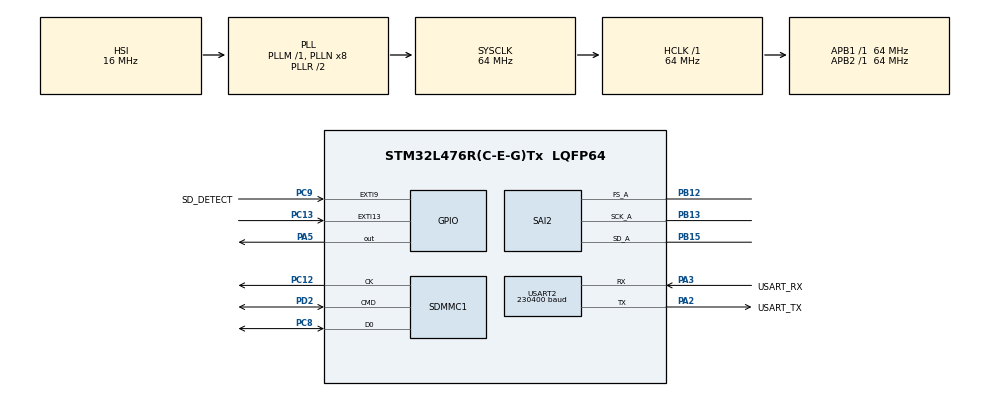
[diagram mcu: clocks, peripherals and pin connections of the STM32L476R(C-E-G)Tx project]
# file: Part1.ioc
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Dma.Request0=SAI2_A
Dma.Request1=SDMMC1
Dma.Request2=USART2_TX
Dma.SAI2_A.0.Direction=DMA_PERIPH_TO_MEMORY
Dma.SAI2_A.0.Instance=DMA1_Channel6
Dma.SAI2_A.0.MemDataAlignment=DMA_MDATAALIGN_WORD
Dma.SAI2_A.0.MemInc=DMA_MINC_ENABLE
Dma.SAI2_A.0.Mode=DMA_CIRCULAR
Dma.SAI2_A.0.PeriphDataAlignment=DMA_PDATAALIGN_WORD
Dma.SAI2_A.0.PeriphInc=DMA_PINC_DISABLE
Dma.SAI2_A.0.Priority=DMA_PRIORITY_MEDIUM
Dma.SDMMC1.1.Direction=DMA_PERIPH_TO_MEMORY
Dma.SDMMC1.1.Instance=DMA2_Channel5
Dma.SDMMC1.1.MemDataAlignment=DMA_MDATAALIGN_WORD
Dma.SDMMC1.1.MemInc=DMA_MINC_ENABLE
Dma.SDMMC1.1.Mode=DMA_NORMAL
Dma.SDMMC1.1.PeriphDataAlignment=DMA_PDATAALIGN_WORD
Dma.SDMMC1.1.PeriphInc=DMA_PINC_DISABLE
Dma.SDMMC1.1.Priority=DMA_PRIORITY_VERY_HIGH
Dma.USART2_TX.2.Direction=DMA_MEMORY_TO_PERIPH
Dma.USART2_TX.2.Instance=DMA1_Channel7
Dma.USART2_TX.2.MemDataAlignment=DMA_MDATAALIGN_BYTE
Dma.USART2_TX.2.MemInc=DMA_MINC_ENABLE
Dma.USART2_TX.2.Mode=DMA_NORMAL
Dma.USART2_TX.2.PeriphDataAlignment=DMA_PDATAALIGN_BYTE
Dma.USART2_TX.2.PeriphInc=DMA_PINC_DISABLE
Dma.USART2_TX.2.Priority=DMA_PRIORITY_VERY_HIGH
FATFS._FS_EXFAT=1
FATFS._FS_TIMEOUT=500
FATFS._FS_TINY=0
FATFS._MAX_LFN=64
FATFS._MAX_SS=512
FATFS._USE_LFN=3
FATFS._USE_MUTEX=1
FREERTOS.HEAP_NUMBER=4
FREERTOS.Tasks01=defaultTask,24,128,StartDefaultTask,As weak,NULL,Dynamic,NULL,NULL
FREERTOS.configCHECK_FOR_STACK_OVERFLOW=2
FREERTOS.configENABLE_FPU=1
FREERTOS.configRECORD_STACK_HIGH_ADDRESS=1
FREERTOS.configTOTAL_HEAP_SIZE=48000
FREERTOS.configUSE_DAEMON_TASK_STARTUP_HOOK=0
FREERTOS.configUSE_MALLOC_FAILED_HOOK=1
Mcu.Family=STM32L4
Mcu.Name=STM32L476R(C-E-G)Tx
Mcu.Package=LQFP64
NVIC.DMA1_Channel6_IRQn=true\:5\:0\:false\:false\:true\:true\:false\:true\:true
NVIC.DMA1_Channel7_IRQn=true\:5\:0\:false\:false\:true\:true\:false\:true\:true
NVIC.DMA2_Channel5_IRQn=true\:5\:0\:true\:false\:true\:false\:false\:true\:true
NVIC.EXTI15_10_IRQn=true\:5\:0\:false\:false\:true\:true\:true\:true\:true
NVIC.EXTI9_5_IRQn=true\:5\:0\:false\:false\:true\:true\:true\:true\:true
NVIC.PriorityGroup=NVIC_PRIORITYGROUP_4
NVIC.SDMMC1_IRQn=true\:5\:0\:false\:false\:true\:true\:true\:true\:true
NVIC.TIM2_IRQn=true\:5\:0\:false\:false\:true\:true\:true\:true\:true
NVIC.TIM6_DAC_IRQn=true\:15\:0\:false\:false\:true\:false\:false\:true\:true
NVIC.TimeBase=TIM6_DAC_IRQn
NVIC.TimeBaseIP=TIM6
NVIC.USART2_IRQn=true\:5\:0\:false\:false\:true\:true\:true\:true\:true
PA13\ (JTMS-SWDIO).GPIO_Label=TMS
PA13\ (JTMS-SWDIO).Mode=Trace_Asynchronous_SW
PA13\ (JTMS-SWDIO).Signal=SYS_JTMS-SWDIO
PA14\ (JTCK-SWCLK).GPIO_Label=TCK
PA14\ (JTCK-SWCLK).Mode=Trace_Asynchronous_SW
PA14\ (JTCK-SWCLK).Signal=SYS_JTCK-SWCLK
PA2.GPIO_Label=USART_TX
PA2.GPIO_Mode=GPIO_MODE_AF_PP
PA2.GPIO_PuPd=GPIO_NOPULL
PA2.GPIO_Speed=GPIO_SPEED_FREQ_VERY_HIGH
PA2.Mode=Asynchronous
PA2.Signal=USART2_TX
PA3.GPIO_Label=USART_RX
PA3.GPIO_Mode=GPIO_MODE_AF_PP
PA3.GPIO_PuPd=GPIO_NOPULL
PA3.GPIO_Speed=GPIO_SPEED_FREQ_VERY_HIGH
PA3.Mode=Asynchronous
PA3.Signal=USART2_RX
PA5.Signal=GPIO_Output
PB12.Mode=SAI_A_Master
PB12.Signal=SAI2_FS_A
PB13.Mode=SAI_A_Master
PB13.Signal=SAI2_SCK_A
PB15.GPIO_PuPd=GPIO_PULLDOWN
PB15.Mode=SAI_A_Master
PB15.Signal=SAI2_SD_A
PB3\ (JTDO-TRACESWO).GPIO_Label=SWO
PB3\ (JTDO-TRACESWO).Mode=Trace_Asynchronous_SW
PB3\ (JTDO-TRACESWO).Signal=SYS_JTDO-SWO
PC12.Mode=SD_1_bit
PC12.Signal=SDMMC1_CK
PC13.GPIO_ModeDefaultEXTI=GPIO_MODE_IT_RISING_FALLING
PC13.Signal=GPXTI13
PC14-OSC32_IN\ (PC14).Signal=RCC_OSC32_IN
PC15-OSC32_OUT\ (PC15).Signal=RCC_OSC32_OUT
PC8.Mode=SD_1_bit
PC8.Signal=SDMMC1_D0
PC9.GPIO_Label=SD_DETECT
PC9.GPIO_ModeDefaultEXTI=GPIO_MODE_IT_RISING_FALLING
PC9.GPIO_PuPd=GPIO_PULLUP
PC9.Signal=GPXTI9
PD2.Mode=SD_1_bit
PD2.Signal=SDMMC1_CMD
PH0-OSC_IN\ (PH0).Signal=RCC_OSC_IN
PH1-OSC_OUT\ (PH1).Signal=RCC_OSC_OUT
ProjectManager.HeapSize=0x400
ProjectManager.StackSize=0x800
ProjectManager.TargetToolchain=CMake
RCC.ADCFreq_Value=64000000
RCC.AHBFreq_Value=64000000
RCC.APB1Freq_Value=64000000
RCC.APB1TimFreq_Value=64000000
RCC.APB2Freq_Value=64000000
RCC.APB2TimFreq_Value=64000000
RCC.CK48CLockSelection=RCC_USBCLKSOURCE_PLL
RCC.CortexFreq_Value=64000000
RCC.HCLKFreq_Value=64000000
RCC.HSE_VALUE=8000000
RCC.HSI_VALUE=16000000
RCC.LSE_VALUE=32768
RCC.MSI_VALUE=4000000
RCC.PLLQ=RCC_PLLQ_DIV4
RCC.PLLSAI1Q=RCC_PLLQ_DIV4
RCC.PLLSAI2N=12
RCC.PLLSAI2P=RCC_PLLP_DIV17
RCC.PLLSourceVirtual=RCC_PLLSOURCE_HSI
RCC.PREFETCH_ENABLE=1
RCC.SAI2CLockSelection=RCC_SAI2CLKSOURCE_PLLSAI2
RCC.SYSCLKFreq_VALUE=64000000
RCC.SYSCLKSource=RCC_SYSCLKSOURCE_PLLCLK
RCC.USBFreq_Value=32000000
RCC.VCOOutputFreq_Value=128000000
SAI2.AudioFrequency-SAI_A_Master=SAI_AUDIO_FREQUENCY_44K
SAI2.AudioMode-SAI_A_Master=SAI_MODEMASTER_RX
SAI2.BasicDataSize-SAI_A_Master=SAI_PROTOCOL_DATASIZE_24BIT
SAI2.ErrorAudioFreq-SAI_A_Master=0.03 %
SAI2.FIFOThreshold-SAI_A_Master=SAI_FIFOTHRESHOLD_EMPTY
SAI2.InitProtocol-SAI_A_Master=Enable
SAI2.Instance-SAI_A_Master=SAI$Index_Block_A
SAI2.MClockEnable-SAI_A_Master=SAI_MASTERCLOCK_DISABLE
SAI2.MonoStereoMode-SAI_A_Master=SAI_MONOMODE
SAI2.NoDivider-SAI_A_Master=SAI_MASTERDIVIDER_ENABLE
SAI2.RealAudioFreq-SAI_A_Master=44.117 KHz
SAI2.VirtualMode-SAI_A_Master=VM_MASTER
SAI2.VirtualProtocol-SAI_A_BASIC=VM_BASIC_PROTOCOL
SDMMC1.ClockDiv=0
SDMMC1.HardwareFlowControl=SDMMC_HARDWARE_FLOW_CONTROL_DISABLE
STMicroelectronics.X-CUBE-ALGOBUILD.1.5.0.LibraryCcDSPOoLibraryJjDSPOoLibrary=true
TIM2.Period=19999
TIM2.Prescaler=6400
USART2.BaudRate=230400
USART2.VirtualMode-Asynchronous=VM_ASYNC
VP_FATFS_VS_SDIO.Mode=SDIO
VP_FREERTOS_VS_CMSIS_V2.Mode=CMSIS_V2
VP_NUCLEO-L476RG_VS_BSP_COMMON.Mode=COMMON
VP_RTC_VS_RTC_Activate.Mode=RTC_Enabled
VP_RTC_VS_RTC_Calendar.Mode=RTC_Calendar
VP_SAI2_VP_$IpInstance_SAIA_SAI_BASIC.Mode=SAI_A_BASIC
VP_STMicroelectronics.X-CUBE-ALGOBUILD_VS_DSPOoLibraryJjLibrary_1.5.0_1.5.0.Mode=DSPOoLibraryJjLibrary
VP_SYS_VS_tim6.Mode=TIM6
VP_TIM2_VS_ClockSourceINT.Mode=Internal
VP_TIM2_VS_OPM.Mode=OPM_bit
board=NUCLEO-L476RG

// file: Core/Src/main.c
/* USER CODE BEGIN Header */
/**
  ******************************************************************************
  * @file           : main.c
  * @brief          : Main program body
  ******************************************************************************
  * @attention
  *
  * Copyright (c) 2026 STMicroelectronics.
  * All rights reserved.
  *
  * This software is licensed under terms that can be found in the LICENSE file
  * in the root directory of this software component.
  * If no LICENSE file comes with this software, it is provided AS-IS.
  *
  ******************************************************************************
  */
/* USER CODE END Header */
#include "main.h"
#include "cmsis_os.h"
#include "fatfs.h"

/* USER CODE BEGIN Includes */
#include "FreeRTOS.h"
#include "ff.h"
#include "portmacro.h"
#include "projdefs.h"
#include "stm32l476xx.h"
#include "stm32l4xx_hal_def.h"
#include "stm32l4xx_hal_dma.h"
#include "stm32l4xx_hal_uart.h"
#include "stm32l4xx_nucleo.h"
#include "task.h"
#include "arm_math.h"
#include "string.h"
#include "stdio.h"
#include "queue.h"
#include "stdarg.h"
#include "event_groups.h"
#include "semphr.h"
#include "stream_buffer.h"
#include "trcDefines.h"
#include <sys/_intsup.h>
/* USER CODE END Includes */

/* USER CODE BEGIN PD */
#define PROFILING
#define DMA_BUF_SIZE                       2048
#define AUDIO_BLOCK_LEN_WORDS             (DMA_BUF_SIZE/2)
#define AUDIO_BLOCK_SIZE_BYTES            (AUDIO_BLOCK_LEN_WORDS*4)
#define FFT_LENGTH                        (DMA_BUF_SIZE/2)
#define FFT_MAG_LEN                       (FFT_LENGTH/2)

#define SAMPLE_RATE                        44117.0f
#define FFT_BIN_HZ_FLOAT                   (SAMPLE_RATE / FFT_LENGTH)
#define HANN_COHERENT_GAIN                 0.5f
#define FFT_SCALE                         (2.0f / (FFT_LENGTH * HANN_COHERENT_GAIN))
#define SEARCH_RADIUS_BINS                 2
#define FALL_CRICKET_FREQ                  4200.0f
#define SOUTHEASTERN_CRICKET_FREQ          4700.0f
#define REF_LO_BIN                        ((uint32_t)(900.0f   / FFT_BIN_HZ_FLOAT))
#define REF_HI_BIN                        ((uint32_t)(16000.0f / FFT_BIN_HZ_FLOAT))
// #define AUDIO_QUEUE_LEN                    4
// #define AUDIO_QUEUE_SIZE                  (AUDIO_QUEUE_LEN*AUDIO_BLOCK_SIZE_BYTES)

#define RECORDING_STREAM_SIZE              8192
#define RECORDING_STREAM_TRIGGER_LVL       (4096)

#define SD_CONNECTION_EVENT_BIT             (1<<0)
#define SD_EJECT_BIT                        (1<<1)
#define SD_RECORDING_CTL_BIT                (1<<2)
#define SD_RECORDING_STATUS_BIT             (1<<3)
#define SD_RECORDING_ACTIVE                 (1<<4)
#define SD_INITIALIZED_BIT                  (1<<5)
#define SD_ERROR_REINITRQ_BIT               (1<<6)

/* USER CODE END PD */

RTC_HandleTypeDef hrtc;

SAI_HandleTypeDef hsai_BlockA2;
DMA_HandleTypeDef hdma_sai2_a;

SD_HandleTypeDef hsd1;
DMA_HandleTypeDef hdma_sdmmc1;

TIM_HandleTypeDef htim2;

UART_HandleTypeDef huart2;
DMA_HandleTypeDef hdma_usart2_tx;

/* Definitions for defaultTask */
osThreadId_t defaultTaskHandle;
const osThreadAttr_t defaultTask_attributes = {
  .name = "defaultTask",
  .stack_size = 128 * 4,
  .priority = (osPriority_t) osPriorityNormal,
};
/* USER CODE BEGIN PV */

#ifdef PROFILING
TraceStringHandle_t RecordingProfiler;
TraceStringHandle_t FFTProfiler;
#endif

extern char SDPath[4];   /* SD logical drive path */
extern FATFS SDFatFS;    /* File system object for SD logical drive */

uint8_t recordingFolderExists;
char UARTrxBuf[6];
uint8_t buttonLongPressed;
static WAV_HeaderTypeDef wavHeader={
  .riff_chunk_id="RIFF",
  .format="WAVE",
  .fmt_chunk_id= "fmt ",
  .fmt_chunk_size = 16,
  .audio_format = 1,      // PCM Linear
  .num_channels = 1,       // Mono microphone
  .sample_rate = SAMPLE_RATE,   // 16kHz
  .bits_per_sample = 24,   // 24-bit audio
  .block_align = 3,
  .byte_rate = SAMPLE_RATE*3,
  .data_chunk_id="data",
  .chunk_size = 0,
  .data_chunk_size = 0
};

//int32_t raw_audio_samples[AUDIO_BLOCK_LEN_WORDS] __attribute__((aligned(4)));
uint8_t raw_audio_samples2[RECORDING_STREAM_TRIGGER_LVL] __attribute__((aligned(4))) __attribute__((section(".ram2")));
uint8_t packed_24bit_buf[ AUDIO_BLOCK_LEN_WORDS * 3 ] __attribute__((aligned(4)))__attribute__((section(".ram2")));
int32_t DMA_buf[DMA_BUF_SIZE] __attribute__((aligned(4))) __attribute__((section(".ram2")));

arm_rfft_fast_instance_f32 xFFT_instance;

float32_t fft_input[FFT_LENGTH];
float32_t fft_output[FFT_LENGTH];
float32_t fft_magnitude[FFT_MAG_LEN];
float32_t hann_window[FFT_LENGTH]__attribute__((section(".ram2")));

TaskHandle_t AudioProcessingTaskHandle;
TaskHandle_t FFTProcessingTaskHandle;
TaskHandle_t SDCardCTLTaskHandle;
TaskHandle_t SDRecordingTaskHandle;

// StaticQueue_t xAudioQueue;
// QueueHandle_t xhAudioQueue;
// uint8_t AudioQueueStorageBuffer[AUDIO_QUEUE_SIZE] __attribute__((section(".ram2")));

SemaphoreHandle_t xFFTProcessingSemaphore;

StaticStreamBuffer_t xRecordingStream;
StreamBufferHandle_t xhRecordingStream;
uint8_t RecordingStreamStorageBuffer[RECORDING_STREAM_SIZE] __attribute__((section(".ram2")));

QueueHandle_t xhLoggingQueue;
SemaphoreHandle_t xLoggingSemaphore;

EventGroupHandle_t xhFilesystemEventGroup;
StaticEventGroup_t xFilesystemEventGroup;
#define SD_CHECKFLAGS(x)                   ((xEventGroupGetBits(xhFilesystemEventGroup) & (x))==(x))

#define HOLDING_MUTEX(x)                   (xSemaphoreGetMutexHolder(x) == xTaskGetCurrentTaskHandle())
SemaphoreHandle_t xSDBusyMutex;
SemaphoreHandle_t xRecordingMutex;
/* USER CODE END PV */

void SystemClock_Config(void);
static void MX_GPIO_Init(void);
static void MX_DMA_Init(void);
static void MX_SAI2_Init(void);
static void MX_USART2_UART_Init(void);
static void MX_SDMMC1_SD_Init(void);
static void MX_RTC_Init(void);
static void MX_TIM2_Init(void);
void StartDefaultTask(void *argument);

/* USER CODE BEGIN PFP */
void vAudioProcessingTask(void *argument);
void vFFTProcessingTask(void *argument);
void vSDCardCTLTask(void *argument);
void vSDRecordingTask(void *argument);
void vLoggingTask(void *argument);
/* USER CODE END PFP */

/* USER CODE BEGIN 0 */

static void Window_Init(void)
{
  for (uint32_t n = 0; n < FFT_LENGTH; n++)
  {
    // Periodic Hann, as used for spectral analysis
    hann_window[n] = 0.5f * (1.0f - arm_cos_f32(2.0f * PI * n / FFT_LENGTH));
  }
}

void vLogMessage(const char* fmt, ...) {
  char buff[256];
  snprintf(buff, sizeof(buff), "[%s Tick:%ld] ", pcTaskGetTaskName(NULL), xTaskGetTickCount());
  va_list args;
  va_start(args, fmt);
  size_t len = strlen(buff);
  vsnprintf(buff+len, (sizeof(buff)-len), fmt, args);
  xQueueSend(xhLoggingQueue, buff, 100);
  va_end(args);
}

void UART_Printf(const char* buff){
  HAL_UART_Transmit_DMA(&huart2, (uint8_t*)buff, strlen(buff));
}

void SD_Init() {
  recordingFolderExists = 0;
  if(xSemaphoreTake(xSDBusyMutex, 100) == pdPASS)
  {
    MX_FATFS_Init();
    vLogMessage("Initializing SD Card\r\n");
    retSD = f_mount(&SDFatFS, (TCHAR const*)SDPath, 0);
    if(retSD != FR_OK) {
        vLogMessage("f_mount() failed, retSD = %d\r\n", retSD);
        goto cleanup;
    }

    vLogMessage("f_mount() done!\r\n");

    uint32_t freeClust;
    FATFS* fs_ptr = &SDFatFS;
    retSD = f_getfree((TCHAR const*)SDPath, &freeClust, &fs_ptr); // Warning! This fills SDFatFS.n_fatent and SDFatFS.csize!
    if(retSD != FR_OK) {
        vLogMessage("f_getfree() failed, retSD = %d\r\n", retSD);
        goto cleanup;
    }

    vLogMessage("f_getfree() done!\r\n");

    uint32_t totalBlocks = (SDFatFS.n_fatent - 2) * SDFatFS.csize;
    uint32_t freeBlocks = freeClust * SDFatFS.csize;

    vLogMessage("Total blocks: %lu (%lu Mb)\r\n", totalBlocks, totalBlocks / 2000);
    vLogMessage("Free blocks: %lu (%lu Mb)\r\n", freeBlocks, freeBlocks / 2000);

    DIR dir;
    retSD = f_opendir(&dir, "/");
    if(retSD != FR_OK) {
        vLogMessage("f_opendir() failed, retSD = %d\r\n", retSD);
        goto cleanup;
    }

    FILINFO fileInfo;
    uint32_t totalFiles = 0;
    uint32_t totalDirs = 0;
    vLogMessage("--------\r\n");
    vLogMessage("Root directory:\r\n");
    for(;;) {
        retSD = f_readdir(&dir, &fileInfo);
        if((retSD != FR_OK) || (fileInfo.fname[0] == '\0')) {
            break;
        }

        if(fileInfo.fattrib & AM_DIR) {
            vLogMessage("  DIR  %s\r\n", fileInfo.fname);
            if (strcmp(fileInfo.fname, "recordings")==0)
              recordingFolderExists = 1;
            totalDirs++;
        } else {
            vLogMessage("  FILE %s\r\n", fileInfo.fname);
            totalFiles++;
        }
    }

    vLogMessage("(total: %lu dirs, %lu files)\r\n", totalDirs, totalFiles);
    vLogMessage("--------\r\n");
    retSD = f_closedir(&dir);
    if(retSD != FR_OK) {
        vLogMessage("f_closedir() failed, retSD = %d\r\n", retSD);
        goto cleanup;
    }
    if(!recordingFolderExists)
    {
      retSD = f_mkdir("recordings");
      if(retSD == FR_OK || retSD == FR_EXIST)
      {
       recordingFolderExists = 1;

      }else{
        vLogMessage("Could not create recordings folder. Recording in Root Directory\r\n");

      }

    }
    vLogMessage("SD Initialization Done!\r\n");
    BSP_LED_On(LED_GREEN);
    xEventGroupSetBits(xhFilesystemEventGroup, SD_INITIALIZED_BIT);
  } else {
    vLogMessage("SD Busy, Failed to init");
    goto cleanup;
  }
cleanup:
    xSemaphoreGive(xSDBusyMutex);
    return;

}

void SD_DeInit(void){
  xSemaphoreTake(xSDBusyMutex, portMAX_DELAY);
  recordingFolderExists = 0;
  FATFS_UnLinkDriver(SDPath);
  HAL_SD_DeInit(&hsd1);
  f_mount(&SDFatFS, SDPath, 0);
  vLogMessage("SD Card Deinitalized\r\n");
  xEventGroupClearBits(xhFilesystemEventGroup, SD_INITIALIZED_BIT);
  xSemaphoreGive(xSDBusyMutex);
}
/* USER CODE END 0 */

int main(void)
{

  /* USER CODE BEGIN 1 */
#ifdef PROFILING
  xTraceEnable(TRC_START_FROM_HOST);

  RecordingProfiler = xTraceRegisterString("Recording Channel");
  FFTProfiler = xTraceRegisterString("FFT Profiler");
#endif
  /* USER CODE END 1 */

  /* MCU Configuration--------------------------------------------------------*/

  /* Reset of all peripherals, Initializes the Flash interface and the Systick. */
  HAL_Init();

  /* Configure the system clock */
  SystemClock_Config();

  /* Initialize all configured peripherals */
  MX_GPIO_Init();
  MX_DMA_Init();
  MX_SAI2_Init();
  MX_USART2_UART_Init();
  MX_SDMMC1_SD_Init();
  MX_FATFS_Init();
  MX_RTC_Init();
  MX_TIM2_Init();
  /* USER CODE BEGIN 2 */
  arm_rfft_fast_init_f32(&xFFT_instance, FFT_LENGTH);
  Window_Init();
  char *buf = "Provide date as DDMMYY:\r\n";
  HAL_UART_Transmit(&huart2, (uint8_t*)buf, strlen(buf), HAL_MAX_DELAY);
  HAL_UART_Receive(&huart2, (uint8_t*)UARTrxBuf, 6, HAL_MAX_DELAY);
  RTC_DateTypeDef datetime={
    1,
    0,
    0,
    0
  };
  int day,month,year;
  sscanf(UARTrxBuf, "%2d%2d%2d", &day, &month, &year);
  datetime.Date = day;
  datetime.Month = month;
  datetime.Year = year;
  HAL_RTC_SetDate(&hrtc,&datetime,RTC_FORMAT_BIN);
  /* USER CODE END 2 */

  /* Init scheduler */
  osKernelInitialize();

  /* USER CODE BEGIN RTOS_SEMAPHORES */
  /* add semaphores, ... */
  xFFTProcessingSemaphore = xSemaphoreCreateBinary();
  xLoggingSemaphore = xSemaphoreCreateBinary();
  xSDBusyMutex = xSemaphoreCreateMutex();
  xRecordingMutex = xSemaphoreCreateMutex();
  /* USER CODE END RTOS_SEMAPHORES */

  /* USER CODE BEGIN RTOS_QUEUES */
  /* add queues, ... */
  xhRecordingStream = xStreamBufferCreateStatic(RECORDING_STREAM_SIZE, RECORDING_STREAM_TRIGGER_LVL, RecordingStreamStorageBuffer, &xRecordingStream);
  //xhAudioQueue = xQueueCreateStatic(AUDIO_QUEUE_LEN, sizeof(raw_audio_samples), AudioQueueStorageBuffer, &xAudioQueue);
  xhLoggingQueue = xQueueCreate(20, sizeof(char[256]));
  /* USER CODE END RTOS_QUEUES */

  /* Create the thread(s) */
  /* creation of defaultTask */
  defaultTaskHandle = osThreadNew(StartDefaultTask, NULL, &defaultTask_attributes);

  /* USER CODE BEGIN RTOS_THREADS */
  /* add threads, ... */

  xTaskCreate(vAudioProcessingTask, "Audio Processing", 256, NULL, 3, &AudioProcessingTaskHandle);
  xTaskCreate(vSDCardCTLTask, "SD Control", 512, NULL, 2, &SDCardCTLTaskHandle);
  xTaskCreate(vSDRecordingTask, "SD Recording", 512, NULL, 3, &SDRecordingTaskHandle);
  xTaskCreate(vFFTProcessingTask, "FFT Processing", 320, NULL, 2, &FFTProcessingTaskHandle);
  xTaskCreate(vLoggingTask, "Logging Task", 512, NULL, 2, NULL);
  /* USER CODE END RTOS_THREADS */

  /* USER CODE BEGIN RTOS_EVENTS */
  /* add events, ... */
  xhFilesystemEventGroup = xEventGroupCreateStatic( &xFilesystemEventGroup );
  /* USER CODE END RTOS_EVENTS */

  /* Start scheduler */
  osKernelStart();

  /* We should never get here as control is now taken by the scheduler */

  /* Infinite loop */
  while (1)
  {

  }
}

void SystemClock_Config(void)
{
  RCC_OscInitTypeDef RCC_OscInitStruct = {0};
  RCC_ClkInitTypeDef RCC_ClkInitStruct = {0};

  /** Configure the main internal regulator output voltage
  */
  if (HAL_PWREx_ControlVoltageScaling(PWR_REGULATOR_VOLTAGE_SCALE1) != HAL_OK)
  {
    Error_Handler();
  }

  /** Initializes the RCC Oscillators according to the specified parameters
  * in the RCC_OscInitTypeDef structure.
  */
  RCC_OscInitStruct.OscillatorType = RCC_OSCILLATORTYPE_HSI|RCC_OSCILLATORTYPE_LSI;
  RCC_OscInitStruct.HSIState = RCC_HSI_ON;
  RCC_OscInitStruct.HSICalibrationValue = RCC_HSICALIBRATION_DEFAULT;
  RCC_OscInitStruct.LSIState = RCC_LSI_ON;
  RCC_OscInitStruct.PLL.PLLState = RCC_PLL_ON;
  RCC_OscInitStruct.PLL.PLLSource = RCC_PLLSOURCE_HSI;
  RCC_OscInitStruct.PLL.PLLM = 1;
  RCC_OscInitStruct.PLL.PLLN = 8;
  RCC_OscInitStruct.PLL.PLLP = RCC_PLLP_DIV7;
  RCC_OscInitStruct.PLL.PLLQ = RCC_PLLQ_DIV4;
  RCC_OscInitStruct.PLL.PLLR = RCC_PLLR_DIV2;
  if (HAL_RCC_OscConfig(&RCC_OscInitStruct) != HAL_OK)
  {
    Error_Handler();
  }

  /** Initializes the CPU, AHB and APB buses clocks
  */
  RCC_ClkInitStruct.ClockType = RCC_CLOCKTYPE_HCLK|RCC_CLOCKTYPE_SYSCLK
                              |RCC_CLOCKTYPE_PCLK1|RCC_CLOCKTYPE_PCLK2;
  RCC_ClkInitStruct.SYSCLKSource = RCC_SYSCLKSOURCE_PLLCLK;
  RCC_ClkInitStruct.AHBCLKDivider = RCC_SYSCLK_DIV1;
  RCC_ClkInitStruct.APB1CLKDivider = RCC_HCLK_DIV1;
  RCC_ClkInitStruct.APB2CLKDivider = RCC_HCLK_DIV1;

  if (HAL_RCC_ClockConfig(&RCC_ClkInitStruct, FLASH_LATENCY_3) != HAL_OK)
  {
    Error_Handler();
  }
}

static void MX_RTC_Init(void)
{

  RTC_TimeTypeDef sTime = {0};
  RTC_DateTypeDef sDate = {0};

  /** Initialize RTC Only
  */
  hrtc.Instance = RTC;
  hrtc.Init.HourFormat = RTC_HOURFORMAT_24;
  hrtc.Init.AsynchPrediv = 127;
  hrtc.Init.SynchPrediv = 255;
  hrtc.Init.OutPut = RTC_OUTPUT_DISABLE;
  hrtc.Init.OutPutRemap = RTC_OUTPUT_REMAP_NONE;
  hrtc.Init.OutPutPolarity = RTC_OUTPUT_POLARITY_HIGH;
  hrtc.Init.OutPutType = RTC_OUTPUT_TYPE_OPENDRAIN;
  if (HAL_RTC_Init(&hrtc) != HAL_OK)
  {
    Error_Handler();
  }

  /** Initialize RTC and set the Time and Date
  */
  sTime.Hours = 0x0;
  sTime.Minutes = 0x0;
  sTime.Seconds = 0x0;
  sTime.DayLightSaving = RTC_DAYLIGHTSAVING_NONE;
  sTime.StoreOperation = RTC_STOREOPERATION_RESET;
  if (HAL_RTC_SetTime(&hrtc, &sTime, RTC_FORMAT_BCD) != HAL_OK)
  {
    Error_Handler();
  }
  sDate.WeekDay = RTC_WEEKDAY_MONDAY;
  sDate.Month = RTC_MONTH_JANUARY;
  sDate.Date = 0x1;
  sDate.Year = 0x0;

  if (HAL_RTC_SetDate(&hrtc, &sDate, RTC_FORMAT_BCD) != HAL_OK)
  {
    Error_Handler();
  }

}

static void MX_SAI2_Init(void)
{

  hsai_BlockA2.Instance = SAI2_Block_A;
  hsai_BlockA2.Init.AudioMode = SAI_MODEMASTER_RX;
  hsai_BlockA2.Init.Synchro = SAI_ASYNCHRONOUS;
  hsai_BlockA2.Init.OutputDrive = SAI_OUTPUTDRIVE_DISABLE;
  hsai_BlockA2.Init.NoDivider = SAI_MASTERDIVIDER_ENABLE;
  hsai_BlockA2.Init.FIFOThreshold = SAI_FIFOTHRESHOLD_EMPTY;
  hsai_BlockA2.Init.AudioFrequency = SAI_AUDIO_FREQUENCY_44K;
  hsai_BlockA2.Init.SynchroExt = SAI_SYNCEXT_DISABLE;
  hsai_BlockA2.Init.MonoStereoMode = SAI_MONOMODE;
  hsai_BlockA2.Init.CompandingMode = SAI_NOCOMPANDING;
  if (HAL_SAI_InitProtocol(&hsai_BlockA2, SAI_I2S_STANDARD, SAI_PROTOCOL_DATASIZE_24BIT, 2) != HAL_OK)
  {
    Error_Handler();
  }

}

static void MX_SDMMC1_SD_Init(void)
{

  hsd1.Instance = SDMMC1;
  hsd1.Init.ClockEdge = SDMMC_CLOCK_EDGE_RISING;
  hsd1.Init.ClockBypass = SDMMC_CLOCK_BYPASS_DISABLE;
  hsd1.Init.ClockPowerSave = SDMMC_CLOCK_POWER_SAVE_DISABLE;
  hsd1.Init.BusWide = SDMMC_BUS_WIDE_1B;
  hsd1.Init.HardwareFlowControl = SDMMC_HARDWARE_FLOW_CONTROL_DISABLE;
  hsd1.Init.ClockDiv = 0;

}

static void MX_TIM2_Init(void)
{

  TIM_ClockConfigTypeDef sClockSourceConfig = {0};
  TIM_MasterConfigTypeDef sMasterConfig = {0};

  htim2.Instance = TIM2;
  htim2.Init.Prescaler = 6400;
  htim2.Init.CounterMode = TIM_COUNTERMODE_UP;
  htim2.Init.Period = 19999;
  htim2.Init.ClockDivision = TIM_CLOCKDIVISION_DIV1;
  htim2.Init.AutoReloadPreload = TIM_AUTORELOAD_PRELOAD_DISABLE;
  if (HAL_TIM_Base_Init(&htim2) != HAL_OK)
  {
    Error_Handler();
  }
  sClockSourceConfig.ClockSource = TIM_CLOCKSOURCE_INTERNAL;
  if (HAL_TIM_ConfigClockSource(&htim2, &sClockSourceConfig) != HAL_OK)
  {
    Error_Handler();
  }
  if (HAL_TIM_OnePulse_Init(&htim2, TIM_OPMODE_SINGLE) != HAL_OK)
  {
    Error_Handler();
  }
  sMasterConfig.MasterOutputTrigger = TIM_TRGO_RESET;
  sMasterConfig.MasterSlaveMode = TIM_MASTERSLAVEMODE_DISABLE;
  if (HAL_TIMEx_MasterConfigSynchronization(&htim2, &sMasterConfig) != HAL_OK)
  {
    Error_Handler();
  }

}

static void MX_USART2_UART_Init(void)
{

  huart2.Instance = USART2;
  huart2.Init.BaudRate = 230400;
  huart2.Init.WordLength = UART_WORDLENGTH_8B;
  huart2.Init.StopBits = UART_STOPBITS_1;
  huart2.Init.Parity = UART_PARITY_NONE;
  huart2.Init.Mode = UART_MODE_TX_RX;
  huart2.Init.HwFlowCtl = UART_HWCONTROL_NONE;
  huart2.Init.OverSampling = UART_OVERSAMPLING_16;
  huart2.Init.OneBitSampling = UART_ONE_BIT_SAMPLE_DISABLE;
  huart2.AdvancedInit.AdvFeatureInit = UART_ADVFEATURE_NO_INIT;
  if (HAL_UART_Init(&huart2) != HAL_OK)
  {
    Error_Handler();
  }

}

static void MX_DMA_Init(void)
{

  /* DMA controller clock enable */
  __HAL_RCC_DMA1_CLK_ENABLE();
  __HAL_RCC_DMA2_CLK_ENABLE();

  /* DMA interrupt init */
  /* DMA1_Channel6_IRQn interrupt configuration */
  HAL_NVIC_SetPriority(DMA1_Channel6_IRQn, 5, 0);
  HAL_NVIC_EnableIRQ(DMA1_Channel6_IRQn);
  /* DMA1_Channel7_IRQn interrupt configuration */
  HAL_NVIC_SetPriority(DMA1_Channel7_IRQn, 5, 0);
  HAL_NVIC_EnableIRQ(DMA1_Channel7_IRQn);
  /* DMA2_Channel5_IRQn interrupt configuration */
  HAL_NVIC_SetPriority(DMA2_Channel5_IRQn, 5, 0);
  HAL_NVIC_EnableIRQ(DMA2_Channel5_IRQn);

}

static void MX_GPIO_Init(void)
{
  GPIO_InitTypeDef GPIO_InitStruct = {0};

  /* GPIO Ports Clock Enable */
  __HAL_RCC_GPIOC_CLK_ENABLE();
  __HAL_RCC_GPIOH_CLK_ENABLE();
  __HAL_RCC_GPIOA_CLK_ENABLE();
  __HAL_RCC_GPIOB_CLK_ENABLE();
  __HAL_RCC_GPIOD_CLK_ENABLE();

  /*Configure GPIO pin Output Level */
  HAL_GPIO_WritePin(GPIOA, GPIO_PIN_5, GPIO_PIN_RESET);

  /*Configure GPIO pin : PC13 */
  GPIO_InitStruct.Pin = GPIO_PIN_13;
  GPIO_InitStruct.Mode = GPIO_MODE_IT_RISING_FALLING;
  GPIO_InitStruct.Pull = GPIO_NOPULL;
  HAL_GPIO_Init(GPIOC, &GPIO_InitStruct);

  /*Configure GPIO pin : PA5 */
  GPIO_InitStruct.Pin = GPIO_PIN_5;
  GPIO_InitStruct.Mode = GPIO_MODE_OUTPUT_PP;
  GPIO_InitStruct.Pull = GPIO_NOPULL;
  GPIO_InitStruct.Speed = GPIO_SPEED_FREQ_LOW;
  HAL_GPIO_Init(GPIOA, &GPIO_InitStruct);

  /*Configure GPIO pin : SD_DETECT_Pin */
  GPIO_InitStruct.Pin = SD_DETECT_Pin;
  GPIO_InitStruct.Mode = GPIO_MODE_IT_RISING_FALLING;
  GPIO_InitStruct.Pull = GPIO_PULLUP;
  HAL_GPIO_Init(SD_DETECT_GPIO_Port, &GPIO_InitStruct);

  /* EXTI interrupt init*/
  HAL_NVIC_SetPriority(EXTI9_5_IRQn, 5, 0);
  HAL_NVIC_EnableIRQ(EXTI9_5_IRQn);

  HAL_NVIC_SetPriority(EXTI15_10_IRQn, 5, 0);
  HAL_NVIC_EnableIRQ(EXTI15_10_IRQn);

}

/* USER CODE BEGIN 4 */

void vAudioProcessingTask(void *argument){

  HAL_SAI_Receive_DMA(&hsai_BlockA2, (uint8_t*)DMA_buf, DMA_BUF_SIZE);
  int32_t *data;
  for(;;)
  {
    //xQueueReceive(xhAudioQueue, raw_audio_samples, portMAX_DELAY);
      BaseType_t AudioDMAHalf = ulTaskNotifyTake(pdTRUE, portMAX_DELAY);

      switch(AudioDMAHalf)
      {
        case 0:
          continue;
        case 1:
          data = DMA_buf;
          break;
        case 2:
          data = DMA_buf+AUDIO_BLOCK_LEN_WORDS;
      }

    if(data[0]!=0)
    {
      for(uint32_t i=0;i<AUDIO_BLOCK_LEN_WORDS;i++)
      {

        int32_t signed_sample = ((int32_t)data[i] << 8) >> 8; // EXTEND SIGN BIT FROM 24 BIT WORDS

        fft_input[i] = signed_sample / 8388608.0f; // NORMALIZE TO FLOAT DIVIDING BY 2**23

        packed_24bit_buf[3*i] = (uint8_t)(signed_sample & 0xFF);
        packed_24bit_buf[3*i+1] = (uint8_t)((signed_sample >> 8) & 0xFF);
        packed_24bit_buf[3*i+2] = (uint8_t)((signed_sample >> 16) & 0xFF);
      }

      if(SD_CHECKFLAGS(SD_RECORDING_ACTIVE))
      {
        xStreamBufferSend(xhRecordingStream, packed_24bit_buf, AUDIO_BLOCK_LEN_WORDS*3, 0);
      }

#ifdef PROFILING
        xTracePrint(FFTProfiler, "FFT Start");
#endif
        arm_mult_f32(fft_input, hann_window, fft_input, FFT_LENGTH);
        arm_rfft_fast_f32(&xFFT_instance, fft_input, fft_output, 0);
        arm_cmplx_mag_f32(&fft_output[2], &fft_magnitude[1], FFT_MAG_LEN-1);

#ifdef PROFILING
        xTracePrint(FFTProfiler, "FFT Stop");
#endif
        fft_magnitude[0] = fabsf(fft_output[0]); // fft_output[0] is already real

        arm_scale_f32(fft_magnitude, FFT_SCALE, fft_magnitude, FFT_MAG_LEN);
        fft_magnitude[0] *= 0.5f;   // DC only needs 1/(N * gain), not 2/(N * gain)
        xSemaphoreGive(xFFTProcessingSemaphore);

    }

  }
}

void vFFTProcessingTask(void *argument)
{ // Control task responding to audio frequencies

  TickType_t lastDetected1 = xTaskGetTickCount();
  TickType_t lastDetected2 = xTaskGetTickCount();
  uint8_t detected1 = 0;
  uint8_t detected2 = 0;
  uint32_t k1 = (uint32_t)(SOUTHEASTERN_CRICKET_FREQ / FFT_BIN_HZ_FLOAT + 0.5f);
  uint32_t k2 = (uint32_t)(FALL_CRICKET_FREQ / FFT_BIN_HZ_FLOAT + 0.5f);
  float32_t peak1, peak2;
  uint32_t idx1, idx2;
  uint8_t recordingAttempted=0;
  float32_t floor1 = -70.0f, floor2 = -70.0f;   // learned noise floor per band (dB)
  uint32_t blocks = 0;
  uint8_t hist1 = 0, hist2 = 0;
  for(;;)
  {

    xSemaphoreTake(xFFTProcessingSemaphore, portMAX_DELAY);
    taskENTER_CRITICAL();
    arm_max_f32(&fft_magnitude[k1-SEARCH_RADIUS_BINS], (2*SEARCH_RADIUS_BINS)+1, &peak1, &idx1);
    arm_max_f32(&fft_magnitude[k2-SEARCH_RADIUS_BINS], (2*SEARCH_RADIUS_BINS)+1, &peak2, &idx2);
    taskEXIT_CRITICAL();

    float32_t mean_all;
    arm_mean_f32(&fft_magnitude[REF_LO_BIN], REF_HI_BIN-REF_LO_BIN, &mean_all);   // ~860 Hz to ~18 kHz

    float32_t mag1  = 20.0f*log10f(peak1 + 1e-12f);
    float32_t mag2  = 20.0f*log10f(peak2 + 1e-12f);
    float32_t prom1 = mag1 - 20.0f*log10f(mean_all + 1e-12f);   // how much the peak stands out
    float32_t prom2 = mag2 - 20.0f*log10f(mean_all + 1e-12f);

    uint8_t hit1 = blocks > (uint32_t)(3.0f * SAMPLE_RATE / FFT_LENGTH) && mag1 >= floor1 + 6.0f && prom1 >= 15.0f;   // skip first ~3 s
    uint8_t hit2 = blocks > (uint32_t)(3.0f * SAMPLE_RATE / FFT_LENGTH) && mag2 >= floor2 + 6.0f && prom2 >= 15.0f;

    hist1 = (hist1 << 1) | hit1;
    hist2 = (hist2 << 1) | hit2;

    uint8_t cricket1 = __builtin_popcount(hist1) >= 5;
    uint8_t cricket2 = __builtin_popcount(hist2) >= 5;

    float32_t a1 = hit1 ? 0.0005f : 0.01f;   // adapt slowly during hits, ~2 s otherwise
    float32_t a2 = hit2 ? 0.0005f : 0.01f;
    floor1 += a1 * (mag1 - floor1);
    floor2 += a2 * (mag2 - floor2);
    blocks++;

    if(cricket1)
    {
      if(detected1 == 0)
      {
        vLogMessage("Detected Southeastern Field Cricket: %0.2f dBFS\r\n", mag1);
        detected1 = 1;
      }
      lastDetected1 = xTaskGetTickCount();
    }else if ((xTaskGetTickCount() - lastDetected1) > pdMS_TO_TICKS(2000) && detected1 == 1) {
      vLogMessage("Lost Southeastern Field Cricket: %0.2f dBFS. Last detected: %ld\r\n", mag1, lastDetected1);
      detected1 = 0;
    }

    if(cricket2)
    {
      if(detected2 == 0)
      {
        vLogMessage("Detected Fall Field Cricket: %0.2f dBFS\r\n", mag2);
        detected2 = 1;
      }
      lastDetected2 = xTaskGetTickCount();
    }else if (((xTaskGetTickCount() - lastDetected2) > pdMS_TO_TICKS(2000)) && detected2 == 1) {
      vLogMessage("Lost Fall Field Cricket: %0.2f dBFS. Last detected: %ld\r\n", mag2, lastDetected2);
      detected2 = 0;
    }

    uint8_t active = SD_CHECKFLAGS(SD_RECORDING_ACTIVE);
    uint8_t want   = (detected1 || detected2);
    uint8_t own    = HOLDING_MUTEX(xRecordingMutex);

    if (own)
    {
      if (!active)
      {                      // recorder stopped on its own
        vLogMessage("Recording stopped unexpectedly\r\n");
        xSemaphoreGive(xRecordingMutex);
      } else if (!want)
      {                 // crickets gone
        xEventGroupClearBits(xhFilesystemEventGroup, SD_RECORDING_ACTIVE);
        vLogMessage("Crickets lost, recording stopped\r\n");
        xSemaphoreGive(xRecordingMutex);
      }
    } else if (want)
    {
      if (xSemaphoreTake(xRecordingMutex, 0) == pdPASS)
      {
        xEventGroupSetBits(xhFilesystemEventGroup, SD_RECORDING_ACTIVE);
        vLogMessage("Cricket detected, recording started\r\n");
      } else if (!recordingAttempted) {
        vLogMessage("Recording already in progress\r\n");
        recordingAttempted = 1;
      }
    }

    if (!own && !active) recordingAttempted = 0;

  }

}

void vSDCardCTLTask(void *argument){  // Control Task for SD Card events (connect, eject, recording control)
  EventBits_t bits;
  if(BSP_SD_IsDetected())
  {
    SD_Init();
  }
  for(;;)
  {
    bits = xEventGroupWaitBits(xhFilesystemEventGroup, SD_CONNECTION_EVENT_BIT | SD_EJECT_BIT | SD_RECORDING_CTL_BIT | SD_ERROR_REINITRQ_BIT, pdTRUE, pdFALSE, portMAX_DELAY);

    if (HOLDING_MUTEX(xRecordingMutex) && !SD_CHECKFLAGS(SD_RECORDING_ACTIVE)) {
      vLogMessage("Recording stopped unexpectedly\r\n");
      xSemaphoreGive(xRecordingMutex);
    }

    if (bits & SD_RECORDING_CTL_BIT)
    {
      if(!SD_CHECKFLAGS(SD_INITIALIZED_BIT))
      {
        vLogMessage("SD Not Initialized, Recording Aborted\r\n");
      }else{
        if (HOLDING_MUTEX(xRecordingMutex)) {
            xEventGroupClearBits(xhFilesystemEventGroup, SD_RECORDING_ACTIVE);
            xSemaphoreGive(xRecordingMutex);
            vLogMessage("Stopping Recording...\r\n");
        } else if (xSemaphoreTake(xRecordingMutex, 0) == pdPASS) {
            xEventGroupSetBits(xhFilesystemEventGroup, SD_RECORDING_ACTIVE);
            vLogMessage("Recording Started...\r\n");
        } else {
            vLogMessage("Recording already in progress\r\n");

        }
      }
    }

    if(bits & SD_EJECT_BIT)
    {
      SD_DeInit();
      vLogMessage("SD Card Ejected\r\n");
    }
    if(bits & SD_CONNECTION_EVENT_BIT)
    {
      vTaskDelay(pdMS_TO_TICKS(500));
      if(BSP_SD_IsDetected() && !SD_CHECKFLAGS(SD_INITIALIZED_BIT))
      {
        vLogMessage("SD Card Connected\r\n");
        SD_Init();
      }else if (!BSP_SD_IsDetected() && SD_CHECKFLAGS(SD_INITIALIZED_BIT)){
        vLogMessage("SD Card Disconnected\r\n");
        SD_DeInit();
      }

    }

    if(bits & SD_ERROR_REINITRQ_BIT)
    {
      vLogMessage("Reinitializing SD card\r\n");
      SD_DeInit();
      SD_Init();
    }
  }
}

void vSDRecordingTask(void *argument)
{
  FIL wavFile;
  UINT bytesWritten;
  uint32_t total_audio_bytes;
  FRESULT ret;
  char filename[64];
  uint8_t card_ok;
  uint8_t stopping;
  for(;;)
  {
    xEventGroupWaitBits(xhFilesystemEventGroup, SD_RECORDING_ACTIVE | SD_INITIALIZED_BIT, pdFALSE, pdTRUE, portMAX_DELAY);
    xSemaphoreTake(xSDBusyMutex, portMAX_DELAY);
    GetNextFileName(filename, sizeof(filename), recordingFolderExists ? "recordings" : "/");
    ret = f_open(&wavFile, filename, FA_WRITE | FA_CREATE_NEW);
    xSemaphoreGive(xSDBusyMutex);
    if(ret != FR_OK)
    {
      vLogMessage("Failed to open file %s. retSD = %d. Requesting Reinit\r\n", filename, ret );
      xEventGroupClearBits(xhFilesystemEventGroup, SD_RECORDING_ACTIVE);
      xEventGroupSetBits(xhFilesystemEventGroup, SD_ERROR_REINITRQ_BIT);
      continue;
    }
    vLogMessage("Creating recording %s\r\n", filename);
    wavHeader.chunk_size = 0;
    wavHeader.data_chunk_size = 36;
    // reserve the 44-byte header; it gets rewritten with real sizes at the end
    xSemaphoreTake(xSDBusyMutex, portMAX_DELAY);
    ret = f_write(&wavFile, &wavHeader, sizeof(WAV_HeaderTypeDef), &bytesWritten);
    xSemaphoreGive(xSDBusyMutex);
    if (ret != FR_OK)
    {
      vLogMessage("Failed to write wavHeader. retSD = %d\r\n", ret);
    }

    total_audio_bytes = 0;
    card_ok = 1;
    while(1)
    {
      if (!SD_CHECKFLAGS(SD_INITIALIZED_BIT))
      {
        xEventGroupClearBits(xhFilesystemEventGroup, SD_RECORDING_ACTIVE);
        vLogMessage("Card removed, recording aborted\r\n");
        card_ok = 0;
        break;   // skip the header fix-up / f_close on the dead card
      }
      size_t bytes = xStreamBufferReceive(xhRecordingStream, raw_audio_samples2, sizeof(raw_audio_samples2), pdMS_TO_TICKS(100));
      stopping = !SD_CHECKFLAGS(SD_RECORDING_ACTIVE);
      if(stopping){
        vLogMessage("Stop bit detected! Exiting recording loop.\r\n");
      }
      while (bytes > 0)
      {
        xSemaphoreTake(xSDBusyMutex, portMAX_DELAY);
        ret = f_write(&wavFile, raw_audio_samples2, bytes, &bytesWritten);
        xSemaphoreGive(xSDBusyMutex);
        if (ret != FR_OK) {
          vLogMessage("Failed to write. retSD = %d\r\n",  ret);
          card_ok = 0;
          break;
        }

        total_audio_bytes += bytesWritten;
        bytes = stopping ? xStreamBufferReceive(xhRecordingStream, raw_audio_samples2, sizeof(raw_audio_samples2), 0): 0;

      }
      if(!card_ok || stopping)
        break;
    }
    // Fix the header size fields now that recording is finished
    if(card_ok && SD_CHECKFLAGS(SD_INITIALIZED_BIT))
    {
    wavHeader.data_chunk_size = total_audio_bytes;
    wavHeader.chunk_size = 36 + total_audio_bytes;

    // Move file pointer back to byte 0 and overwrite the updated header
    xSemaphoreTake(xSDBusyMutex, portMAX_DELAY);
    ret = f_lseek(&wavFile, 0);
    if(ret != FR_OK)
    {
      vLogMessage("Failed to seek. retSD = %d\r\n", ret );

    }else{
      ret = f_write(&wavFile, &wavHeader, sizeof(WAV_HeaderTypeDef), &bytesWritten);

    }

    if(ret != FR_OK)
    {
      vLogMessage("Failed to write final wavHeader. retSD = %d\r\n", ret );

    }
    // Safely commit and close
    vLogMessage( "Closing file %s with %lu bytes.\r\n", filename, total_audio_bytes );

  }else{
    vLogMessage("Requesting SD reinit\r\n");
    xEventGroupSetBits(xhFilesystemEventGroup, SD_ERROR_REINITRQ_BIT);
  }

  ret = f_close(&wavFile);
  xSemaphoreGive(xSDBusyMutex);
  if(ret != FR_OK)
  {
    vLogMessage("Failed to close file %s. retSD = %d\r\n", filename, ret );

  }
  vLogMessage("Closed file %s.\r\n", filename);
  xEventGroupClearBits(xhFilesystemEventGroup, SD_RECORDING_ACTIVE);

  }
}

void vLoggingTask(void *argument)
{
  char Message[256];
  FIL LogFile;
  FRESULT ret_open = FR_NOT_READY;
  UINT bytesWritten;
  TickType_t lastSync = xTaskGetTickCount();
  uint8_t writePending = 0;
  for(;;)
  {

    if(SD_CHECKFLAGS(SD_INITIALIZED_BIT))
    {
      if(ret_open != FR_OK)
      {
        xSemaphoreTake(xSDBusyMutex, portMAX_DELAY);
        ret_open = f_open(&LogFile, "log.txt", FA_CREATE_ALWAYS | FA_WRITE);
        xSemaphoreGive(xSDBusyMutex);
        if(ret_open != FR_OK)
        {
          xEventGroupSetBits(xhFilesystemEventGroup, SD_ERROR_REINITRQ_BIT);
          UART_Printf("log file faled to open\r\n");
        }
      }
    }else {
      ret_open = FR_NOT_READY;
    }

    if(xQueueReceive(xhLoggingQueue, Message, portMAX_DELAY) == pdPASS)
    {
      UART_Printf(Message);
      if(ret_open == FR_OK && SD_CHECKFLAGS(SD_INITIALIZED_BIT))
      {
        if(xSemaphoreTake(xSDBusyMutex, portMAX_DELAY)==pdPASS)
        {
          if(f_write(&LogFile, Message, strlen(Message), &bytesWritten) != FR_OK)
          {
            vLogMessage("f_write failed in Logging Task\r\n");
          }
          writePending = 1;
          xSemaphoreGive(xSDBusyMutex);
        }else{
          vLogMessage("SD Busy, failed to write message\r\n");
        }
      }
      xSemaphoreTake(xLoggingSemaphore, portMAX_DELAY);
    }
    if(((xTaskGetTickCount() - lastSync) >= pdMS_TO_TICKS(1000)) && writePending)
    {
      if (xSemaphoreTake(xSDBusyMutex, 10) == pdPASS)
      {
        f_sync(&LogFile);
        writePending = 0;
        lastSync = xTaskGetTickCount();
        xSemaphoreGive(xSDBusyMutex);
      }

    }

  }
}
void HAL_SAI_RxHalfCpltCallback(SAI_HandleTypeDef *hsai){
  BaseType_t xHigherPriorityTaskWoken = pdFALSE;
  xTaskNotifyFromISR(AudioProcessingTaskHandle, 1, eSetValueWithOverwrite, &xHigherPriorityTaskWoken);
  portYIELD_FROM_ISR(xHigherPriorityTaskWoken);
}

void HAL_SAI_RxCpltCallback(SAI_HandleTypeDef *hsai){
  BaseType_t xHigherPriorityTaskWoken = pdFALSE;
  xTaskNotifyFromISR(AudioProcessingTaskHandle, 2, eSetValueWithOverwrite, &xHigherPriorityTaskWoken);
  portYIELD_FROM_ISR(xHigherPriorityTaskWoken);
}

uint8_t BSP_SD_IsDetected(void)
{
  return HAL_GPIO_ReadPin(SD_DETECT_GPIO_Port, SD_DETECT_Pin) ? 0 : 1;
}
uint8_t BSP_SD_ReadBlocks_DMA(uint32_t *pData, uint32_t ReadAddr, uint32_t NumOfBlocks)
{
 uint8_t sd_state = MSD_OK;
 // Since we are only using 1 DMA channel for SDMMC
 // Change DMA direction before calling SD Read
 // Direction can only be changed when DMA is disabled

 __HAL_DMA_DISABLE(hsd1.hdmarx);
 hsd1.hdmarx->Init.Direction = DMA_PERIPH_TO_MEMORY;
 hsd1.hdmarx->Instance->CCR &= ~DMA_CCR_DIR;

 /* Read block(s) in DMA transfer mode */
 if (HAL_SD_ReadBlocks_DMA(&hsd1, (uint8_t *)pData, ReadAddr, NumOfBlocks) != HAL_OK)
 {
 sd_state = MSD_ERROR;
 }

 return sd_state;
}

uint8_t BSP_SD_WriteBlocks_DMA(uint32_t *pData, uint32_t WriteAddr, uint32_t NumOfBlocks)
{
 uint8_t sd_state = MSD_OK;

 // Since we are only using 1 DMA channel for SDMMC
 // Change DMA direction before calling SD Read
 // Direction can only be changed when DMA is disabled

 __HAL_DMA_DISABLE(hsd1.hdmatx);
 hsd1.hdmatx->Init.Direction = DMA_MEMORY_TO_PERIPH;
 hsd1.hdmatx->Instance->CCR |= (uint32_t)DMA_CCR_DIR;

 /* Write block(s) in DMA transfer mode */
 if (HAL_SD_WriteBlocks_DMA(&hsd1, (uint8_t *)pData, WriteAddr, NumOfBlocks) != HAL_OK)
 {
 sd_state = MSD_ERROR;
 }

 return sd_state;
}

void HAL_GPIO_EXTI_Callback(uint16_t GPIO_Pin)
{
  BaseType_t xHigherPriorityTaskWoken = pdFALSE;
  static uint8_t buttonpresses = 0;
  if(SD_DETECT_Pin == GPIO_Pin)
  {
    xEventGroupSetBitsFromISR(xhFilesystemEventGroup, SD_CONNECTION_EVENT_BIT, &xHigherPriorityTaskWoken );

  }

  if(GPIO_PIN_13 == GPIO_Pin)
  {
    buttonpresses++;
    if(!BSP_PB_GetState(BUTTON_USER)){
      buttonLongPressed = 0;

      __HAL_TIM_SET_COUNTER(&htim2, 0);
      HAL_TIM_Base_Start_IT(&htim2);
    }else {
      HAL_TIM_Base_Stop_IT(&htim2);
      if(!buttonLongPressed && (__HAL_TIM_GET_COUNTER(&htim2) > 500))
      {
        xEventGroupSetBitsFromISR(xhFilesystemEventGroup, SD_RECORDING_CTL_BIT, &xHigherPriorityTaskWoken);
      }
    }
  }
  portYIELD_FROM_ISR(xHigherPriorityTaskWoken);
}

void HAL_UART_TxCpltCallback(UART_HandleTypeDef *huart)
{

  BaseType_t xHigherPriorityTaskWoken = pdFALSE;
  xSemaphoreGiveFromISR(xLoggingSemaphore, &xHigherPriorityTaskWoken);
  portYIELD_FROM_ISR(xHigherPriorityTaskWoken);
}
/* USER CODE END 4 */

__weak void StartDefaultTask(void *argument)
{
  /* USER CODE BEGIN 5 */
  /* Infinite loop */
  for(;;)
  {
    osDelay(osWaitForever);
  }
  /* USER CODE END 5 */
}

void HAL_TIM_PeriodElapsedCallback(TIM_HandleTypeDef *htim)
{
  /* USER CODE BEGIN Callback 0 */

  BaseType_t xHigherPriorityTaskWoken = pdFALSE;
  if(htim->Instance == TIM2){
    buttonLongPressed = 1;
    xEventGroupSetBitsFromISR(xhFilesystemEventGroup, SD_EJECT_BIT, &xHigherPriorityTaskWoken);
    portYIELD_FROM_ISR(xHigherPriorityTaskWoken);
  }
  /* USER CODE END Callback 0 */
  if (htim->Instance == TIM6)
  {
    HAL_IncTick();
  }
}

void Error_Handler(void)
{
  /* USER CODE BEGIN Error_Handler_Debug */
  /* User can add his own implementation to report the HAL error return state */
  __disable_irq();
  while (1)
  {
    vLogMessage("Error_Handler() called! Halting execution.\r\n");
  }
  /* USER CODE END Error_Handler_Debug */
}

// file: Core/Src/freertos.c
/* USER CODE BEGIN Header */
/**
  ******************************************************************************
  * File Name          : freertos.c
  * Description        : Code for freertos applications
  ******************************************************************************
  * @attention
  *
  * Copyright (c) 2026 STMicroelectronics.
  * All rights reserved.
  *
  * This software is licensed under terms that can be found in the LICENSE file
  * in the root directory of this software component.
  * If no LICENSE file comes with this software, it is provided AS-IS.
  *
  ******************************************************************************
  */
/* USER CODE END Header */

#include "FreeRTOS.h"
#include "task.h"
#include "main.h"

/* Hook prototypes */
void vApplicationStackOverflowHook(xTaskHandle xTask, signed char *pcTaskName);
void vApplicationMallocFailedHook(void);

/* USER CODE BEGIN 4 */
void vApplicationStackOverflowHook(xTaskHandle xTask, signed char *pcTaskName)
{
   /* Run time stack overflow checking is performed if
   configCHECK_FOR_STACK_OVERFLOW is defined to 1 or 2. This hook function is
   called if a stack overflow is detected. */
    (void)xTask;
    (void)pcTaskName;
    while(1);
}
/* USER CODE END 4 */

/* USER CODE BEGIN 5 */
void vApplicationMallocFailedHook(void)
{
   /* vApplicationMallocFailedHook() will only be called if
   configUSE_MALLOC_FAILED_HOOK is set to 1 in FreeRTOSConfig.h. It is a hook
   function that will get called if a call to pvPortMalloc() fails.
   pvPortMalloc() is called internally by the kernel whenever a task, queue,
   timer or semaphore is created. It is also called by various parts of the
   demo application. If heap_1.c or heap_2.c are used, then the size of the
   heap available to pvPortMalloc() is defined by configTOTAL_HEAP_SIZE in
   FreeRTOSConfig.h, and the xPortGetFreeHeapSize() API function can be used
   to query the size of free heap space that remains (although it does not
   provide information on how the remaining heap might be fragmented). */
}
/* USER CODE END 5 */
